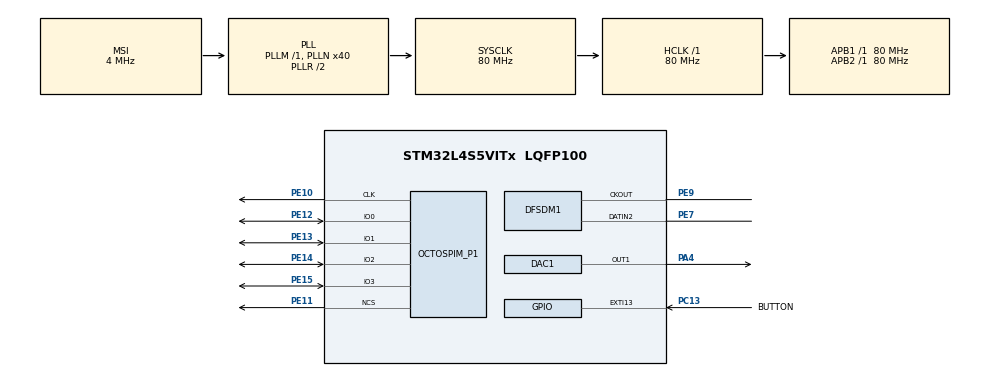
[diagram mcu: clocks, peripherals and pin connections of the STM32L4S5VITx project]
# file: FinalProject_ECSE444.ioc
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DAC1.DAC_Trigger-DAC_OUT1=DAC_TRIGGER_T2_TRGO
DFSDM1.Divider=25
DFSDM1.DmaMode_reg_FIL0=ENABLE
DFSDM1.FastMode_reg_FIL0=ENABLE
DFSDM1.Filter_regChannel_FIL0=DFSDM_CHANNEL_2
DFSDM1.Fosr_FIL0=80
Dma.DAC1_CH1.1.Direction=DMA_MEMORY_TO_PERIPH
Dma.DAC1_CH1.1.EventEnable=DISABLE
Dma.DAC1_CH1.1.Instance=DMA1_Channel2
Dma.DAC1_CH1.1.MemDataAlignment=DMA_MDATAALIGN_BYTE
Dma.DAC1_CH1.1.MemInc=DMA_MINC_ENABLE
Dma.DAC1_CH1.1.Mode=DMA_NORMAL
Dma.DAC1_CH1.1.PeriphDataAlignment=DMA_PDATAALIGN_BYTE
Dma.DAC1_CH1.1.PeriphInc=DMA_PINC_DISABLE
Dma.DAC1_CH1.1.Polarity=HAL_DMAMUX_REQUEST_GEN_RISING
Dma.DAC1_CH1.1.Priority=DMA_PRIORITY_LOW
Dma.DAC1_CH1.1.RequestNumber=1
Dma.DAC1_CH1.1.SignalID=NONE
Dma.DAC1_CH1.1.SyncEnable=DISABLE
Dma.DAC1_CH1.1.SyncPolarity=HAL_DMAMUX_SYNC_NO_EVENT
Dma.DAC1_CH1.1.SyncRequestNumber=1
Dma.DAC1_CH1.1.SyncSignalID=NONE
Dma.DFSDM1_FLT0.0.Direction=DMA_PERIPH_TO_MEMORY
Dma.DFSDM1_FLT0.0.EventEnable=DISABLE
Dma.DFSDM1_FLT0.0.Instance=DMA1_Channel1
Dma.DFSDM1_FLT0.0.MemDataAlignment=DMA_MDATAALIGN_WORD
Dma.DFSDM1_FLT0.0.MemInc=DMA_MINC_ENABLE
Dma.DFSDM1_FLT0.0.Mode=DMA_CIRCULAR
Dma.DFSDM1_FLT0.0.PeriphDataAlignment=DMA_PDATAALIGN_WORD
Dma.DFSDM1_FLT0.0.PeriphInc=DMA_PINC_DISABLE
Dma.DFSDM1_FLT0.0.Polarity=HAL_DMAMUX_REQUEST_GEN_RISING
Dma.DFSDM1_FLT0.0.Priority=DMA_PRIORITY_LOW
Dma.DFSDM1_FLT0.0.RequestNumber=1
Dma.DFSDM1_FLT0.0.SignalID=NONE
Dma.DFSDM1_FLT0.0.SyncEnable=DISABLE
Dma.DFSDM1_FLT0.0.SyncPolarity=HAL_DMAMUX_SYNC_NO_EVENT
Dma.DFSDM1_FLT0.0.SyncRequestNumber=1
Dma.DFSDM1_FLT0.0.SyncSignalID=NONE
Dma.Request0=DFSDM1_FLT0
Dma.Request1=DAC1_CH1
Mcu.Family=STM32L4
Mcu.Name=STM32L4S5VITx
Mcu.Package=LQFP100
NVIC.DFSDM1_FLT0_IRQn=true\:0\:0\:false\:false\:true\:true\:true\:true
NVIC.DMA1_Channel1_IRQn=true\:0\:0\:false\:false\:true\:false\:true\:true
NVIC.DMA1_Channel2_IRQn=true\:0\:0\:false\:false\:true\:false\:true\:true
NVIC.EXTI15_10_IRQn=true\:0\:0\:false\:false\:true\:true\:true\:true
NVIC.PriorityGroup=NVIC_PRIORITYGROUP_4
NVIC.TIM2_IRQn=true\:0\:0\:false\:false\:true\:true\:true\:true
OCTOSPI1.MemoryType=HAL_OSPI_MEMTYPE_MACRONIX
PA13\ (JTMS/SWDIO).Signal=SYS_JTMS-SWDIO
PA4.Signal=COMP_DAC11_group
PB3\ (JTDO/TRACESWO).Signal=SYS_JTDO-SWO
PC13.GPIO_Label=BUTTON
PC13.Signal=GPXTI13
PE10.Mode=O1_P1_CLK
PE10.Signal=OCTOSPIM_P1_CLK
PE11.Mode=OCTOSPI1_Port1_NCS
PE11.Signal=OCTOSPIM_P1_NCS
PE12.Mode=OCTOSPI1_IOL_Port1L
PE12.Signal=OCTOSPIM_P1_IO0
PE13.Mode=OCTOSPI1_IOL_Port1L
PE13.Signal=OCTOSPIM_P1_IO1
PE14.Mode=OCTOSPI1_IOL_Port1L
PE14.Signal=OCTOSPIM_P1_IO2
PE15.Mode=OCTOSPI1_IOL_Port1L
PE15.Signal=OCTOSPIM_P1_IO3
PE7.Signal=S_DATAIN2DFSDM1
PE9.Signal=S_CKOUTDFSDM1
ProjectManager.HeapSize=0x200
ProjectManager.StackSize=0x400
ProjectManager.TargetToolchain=STM32CubeIDE
RCC.ADCFreq_Value=48000000
RCC.AHBFreq_Value=80000000
RCC.APB1Freq_Value=80000000
RCC.APB1TimFreq_Value=80000000
RCC.APB2Freq_Value=80000000
RCC.APB2TimFreq_Value=80000000
RCC.CortexFreq_Value=80000000
RCC.HCLKFreq_Value=80000000
RCC.HSE_VALUE=8000000
RCC.HSI48_VALUE=48000000
RCC.HSI_VALUE=16000000
RCC.LSE_VALUE=32768
RCC.MSI_VALUE=4000000
RCC.PLLN=40
RCC.PLLSAI1N=24
RCC.SYSCLKFreq_VALUE=80000000
RCC.SYSCLKSource=RCC_SYSCLKSOURCE_PLLCLK
RCC.USBFreq_Value=48000000
RCC.VCOOutputFreq_Value=160000000
SH.COMP_DAC11_group.0=DAC1_OUT1,DAC_OUT1
SH.S_CKOUTDFSDM1.0=DFSDM1_CKOUT,PDM_SPI_input_from_ch2_and_internal_clock
SH.S_DATAIN2DFSDM1.0=DFSDM1_DATIN2,PDM_SPI_input_from_ch2_and_internal_clock
TIM2.Period=2000
TIM2.TIM_MasterOutputTrigger=TIM_TRGO_UPDATE
VP_OCTOSPI1_VS_quad.Mode=quad_mode
VP_TIM2_VS_ClockSourceINT.Mode=Internal
board=B-L4S5I-IOT01A

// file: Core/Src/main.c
/* USER CODE BEGIN Header */
/**
  ******************************************************************************
  * @file           : main.c
  * @brief          : Main program body
  ******************************************************************************
  * @attention
  *
  * Copyright (c) 2022 STMicroelectronics.
  * All rights reserved.
  *
  * This software is licensed under terms that can be found in the LICENSE file
  * in the root directory of this software component.
  * If no LICENSE file comes with this software, it is provided AS-IS.
  *
  ******************************************************************************
  */
/* USER CODE END Header */
#include "main.h"

/* USER CODE BEGIN Includes */
#include "stm32l4s5i_iot01_qspi.h"
#include "arm_math.h"
#include <stdlib.h>
#include <string.h>
#include <stdio.h>
/* USER CODE END Includes */

DAC_HandleTypeDef hdac1;
DMA_HandleTypeDef hdma_dac1_ch1;

DFSDM_Filter_HandleTypeDef hdfsdm1_filter0;
DFSDM_Channel_HandleTypeDef hdfsdm1_channel2;
DMA_HandleTypeDef hdma_dfsdm1_flt0;

OSPI_HandleTypeDef hospi1;

TIM_HandleTypeDef htim2;

void SystemClock_Config(void);
static void MX_GPIO_Init(void);
static void MX_DMA_Init(void);
static void MX_DFSDM1_Init(void);
static void MX_TIM2_Init(void);
static void MX_OCTOSPI1_Init(void);
static void MX_DAC1_Init(void);

/* USER CODE BEGIN 0 */
int32_t recording [60000];
int ct = 0;
uint8_t outputAudio[60000];
uint8_t firsthalf[30000];
uint8_t secondhalf[30000];
//uint8_t dacArray[125000];
uint32_t counter = 0;
int halfCompleted = 0;
int completed = 0;
/* USER CODE END 0 */

int main(void)
{

  /* MCU Configuration--------------------------------------------------------*/

  /* Reset of all peripherals, Initializes the Flash interface and the Systick. */
  HAL_Init();

  /* Configure the system clock */
  SystemClock_Config();

  /* Initialize all configured peripherals */
  MX_GPIO_Init();
  MX_DMA_Init();
  MX_DFSDM1_Init();
  MX_TIM2_Init();
  MX_OCTOSPI1_Init();
  MX_DAC1_Init();
  /* USER CODE BEGIN 2 */
  HAL_TIM_Base_Start_IT(&htim2);
  BSP_QSPI_Init();
  //erase memory from flash, enough to fit 2 sets
//  for(int i =0; i < 10; i++){
//  	  if (BSP_QSPI_Erase_Block(((uint32_t) i*65536)) != QSPI_OK)
//  	   		Error_Handler();
//  }
  //we meed 10 of these
  if (BSP_QSPI_Erase_Block(((uint32_t) 0)) != QSPI_OK)
   	   		Error_Handler();
  if (BSP_QSPI_Erase_Block(((uint32_t) 65536)) != QSPI_OK)
   	   		Error_Handler();
  if (BSP_QSPI_Erase_Block(((uint32_t) 131072)) != QSPI_OK)
   	   		Error_Handler();
  if (BSP_QSPI_Erase_Block(((uint32_t) 196608)) != QSPI_OK)
   	   		Error_Handler();

  /* USER CODE END 2 */

  /* Infinite loop */
  while (1)
  {

    /* USER CODE BEGIN 3 */
	  if(halfCompleted == 1){
			int32_t temp;
			memset(firsthalf, 0, 30000);
			for(int i = 0; i < 30000; i++ ){
					temp = ((int32_t) recording[i] >> 8) + pow(2,23);
					firsthalf[i] = (uint8_t) (temp >> 15);
			}
			if(BSP_QSPI_Write((uint8_t *)firsthalf, counter, 30000) != QSPI_OK){
							  Error_Handler();
			}
			counter = counter + 30000;
		    halfCompleted = 0;
	  }
	  if(completed == 1){
		    int32_t temp1;
			memset(secondhalf, 0, 30000);
			for(int i = 30000; i < 60000; i++ ){
				temp1 = ((int32_t) recording[i] >> 8) + pow(2,23);
				secondhalf[i-30000] = (uint8_t) (temp1 >> 15);

			}
			if(BSP_QSPI_Write((uint8_t *)secondhalf, counter, 30000) != QSPI_OK){
						  Error_Handler();
			}
			counter = counter + 30000;
			completed = 0;
			if(counter == 240000){
					HAL_DFSDM_FilterRegularStop_DMA(&hdfsdm1_filter0);
					startDac();
			}
	  }
  }
  /* USER CODE END 3 */
}

void SystemClock_Config(void)
{
  RCC_OscInitTypeDef RCC_OscInitStruct = {0};
  RCC_ClkInitTypeDef RCC_ClkInitStruct = {0};

  /** Configure the main internal regulator output voltage
  */
  if (HAL_PWREx_ControlVoltageScaling(PWR_REGULATOR_VOLTAGE_SCALE1) != HAL_OK)
  {
    Error_Handler();
  }

  /** Initializes the RCC Oscillators according to the specified parameters
  * in the RCC_OscInitTypeDef structure.
  */
  RCC_OscInitStruct.OscillatorType = RCC_OSCILLATORTYPE_MSI;
  RCC_OscInitStruct.MSIState = RCC_MSI_ON;
  RCC_OscInitStruct.MSICalibrationValue = 0;
  RCC_OscInitStruct.MSIClockRange = RCC_MSIRANGE_6;
  RCC_OscInitStruct.PLL.PLLState = RCC_PLL_ON;
  RCC_OscInitStruct.PLL.PLLSource = RCC_PLLSOURCE_MSI;
  RCC_OscInitStruct.PLL.PLLM = 1;
  RCC_OscInitStruct.PLL.PLLN = 40;
  RCC_OscInitStruct.PLL.PLLP = RCC_PLLP_DIV2;
  RCC_OscInitStruct.PLL.PLLQ = RCC_PLLQ_DIV2;
  RCC_OscInitStruct.PLL.PLLR = RCC_PLLR_DIV2;
  if (HAL_RCC_OscConfig(&RCC_OscInitStruct) != HAL_OK)
  {
    Error_Handler();
  }

  /** Initializes the CPU, AHB and APB buses clocks
  */
  RCC_ClkInitStruct.ClockType = RCC_CLOCKTYPE_HCLK|RCC_CLOCKTYPE_SYSCLK
                              |RCC_CLOCKTYPE_PCLK1|RCC_CLOCKTYPE_PCLK2;
  RCC_ClkInitStruct.SYSCLKSource = RCC_SYSCLKSOURCE_PLLCLK;
  RCC_ClkInitStruct.AHBCLKDivider = RCC_SYSCLK_DIV1;
  RCC_ClkInitStruct.APB1CLKDivider = RCC_HCLK_DIV1;
  RCC_ClkInitStruct.APB2CLKDivider = RCC_HCLK_DIV1;

  if (HAL_RCC_ClockConfig(&RCC_ClkInitStruct, FLASH_LATENCY_3) != HAL_OK)
  {
    Error_Handler();
  }
}

static void MX_DAC1_Init(void)
{

  DAC_ChannelConfTypeDef sConfig = {0};

  /** DAC Initialization
  */
  hdac1.Instance = DAC1;
  if (HAL_DAC_Init(&hdac1) != HAL_OK)
  {
    Error_Handler();
  }

  /** DAC channel OUT1 config
  */
  sConfig.DAC_SampleAndHold = DAC_SAMPLEANDHOLD_DISABLE;
  sConfig.DAC_Trigger = DAC_TRIGGER_T2_TRGO;
  sConfig.DAC_HighFrequency = DAC_HIGH_FREQUENCY_INTERFACE_MODE_ABOVE_80MHZ;
  sConfig.DAC_OutputBuffer = DAC_OUTPUTBUFFER_ENABLE;
  sConfig.DAC_ConnectOnChipPeripheral = DAC_CHIPCONNECT_DISABLE;
  sConfig.DAC_UserTrimming = DAC_TRIMMING_FACTORY;
  if (HAL_DAC_ConfigChannel(&hdac1, &sConfig, DAC_CHANNEL_1) != HAL_OK)
  {
    Error_Handler();
  }

}

static void MX_DFSDM1_Init(void)
{

  hdfsdm1_filter0.Instance = DFSDM1_Filter0;
  hdfsdm1_filter0.Init.RegularParam.Trigger = DFSDM_FILTER_SW_TRIGGER;
  hdfsdm1_filter0.Init.RegularParam.FastMode = ENABLE;
  hdfsdm1_filter0.Init.RegularParam.DmaMode = ENABLE;
  hdfsdm1_filter0.Init.FilterParam.SincOrder = DFSDM_FILTER_FASTSINC_ORDER;
  hdfsdm1_filter0.Init.FilterParam.Oversampling = 80;
  hdfsdm1_filter0.Init.FilterParam.IntOversampling = 1;
  if (HAL_DFSDM_FilterInit(&hdfsdm1_filter0) != HAL_OK)
  {
    Error_Handler();
  }
  hdfsdm1_channel2.Instance = DFSDM1_Channel2;
  hdfsdm1_channel2.Init.OutputClock.Activation = ENABLE;
  hdfsdm1_channel2.Init.OutputClock.Selection = DFSDM_CHANNEL_OUTPUT_CLOCK_SYSTEM;
  hdfsdm1_channel2.Init.OutputClock.Divider = 25;
  hdfsdm1_channel2.Init.Input.Multiplexer = DFSDM_CHANNEL_EXTERNAL_INPUTS;
  hdfsdm1_channel2.Init.Input.DataPacking = DFSDM_CHANNEL_STANDARD_MODE;
  hdfsdm1_channel2.Init.Input.Pins = DFSDM_CHANNEL_SAME_CHANNEL_PINS;
  hdfsdm1_channel2.Init.SerialInterface.Type = DFSDM_CHANNEL_SPI_RISING;
  hdfsdm1_channel2.Init.SerialInterface.SpiClock = DFSDM_CHANNEL_SPI_CLOCK_INTERNAL;
  hdfsdm1_channel2.Init.Awd.FilterOrder = DFSDM_CHANNEL_FASTSINC_ORDER;
  hdfsdm1_channel2.Init.Awd.Oversampling = 1;
  hdfsdm1_channel2.Init.Offset = 0;
  hdfsdm1_channel2.Init.RightBitShift = 0x00;
  if (HAL_DFSDM_ChannelInit(&hdfsdm1_channel2) != HAL_OK)
  {
    Error_Handler();
  }
  if (HAL_DFSDM_FilterConfigRegChannel(&hdfsdm1_filter0, DFSDM_CHANNEL_2, DFSDM_CONTINUOUS_CONV_ON) != HAL_OK)
  {
    Error_Handler();
  }

}

static void MX_OCTOSPI1_Init(void)
{

  OSPIM_CfgTypeDef OSPIM_Cfg_Struct = {0};

  /* OCTOSPI1 parameter configuration*/
  hospi1.Instance = OCTOSPI1;
  hospi1.Init.FifoThreshold = 1;
  hospi1.Init.DualQuad = HAL_OSPI_DUALQUAD_DISABLE;
  hospi1.Init.MemoryType = HAL_OSPI_MEMTYPE_MACRONIX;
  hospi1.Init.DeviceSize = 32;
  hospi1.Init.ChipSelectHighTime = 1;
  hospi1.Init.FreeRunningClock = HAL_OSPI_FREERUNCLK_DISABLE;
  hospi1.Init.ClockMode = HAL_OSPI_CLOCK_MODE_0;
  hospi1.Init.ClockPrescaler = 1;
  hospi1.Init.SampleShifting = HAL_OSPI_SAMPLE_SHIFTING_NONE;
  hospi1.Init.DelayHoldQuarterCycle = HAL_OSPI_DHQC_DISABLE;
  hospi1.Init.ChipSelectBoundary = 0;
  hospi1.Init.DelayBlockBypass = HAL_OSPI_DELAY_BLOCK_BYPASSED;
  if (HAL_OSPI_Init(&hospi1) != HAL_OK)
  {
    Error_Handler();
  }
  OSPIM_Cfg_Struct.ClkPort = 1;
  OSPIM_Cfg_Struct.NCSPort = 1;
  OSPIM_Cfg_Struct.IOLowPort = HAL_OSPIM_IOPORT_1_LOW;
  if (HAL_OSPIM_Config(&hospi1, &OSPIM_Cfg_Struct, HAL_OSPI_TIMEOUT_DEFAULT_VALUE) != HAL_OK)
  {
    Error_Handler();
  }

}

static void MX_TIM2_Init(void)
{

  TIM_ClockConfigTypeDef sClockSourceConfig = {0};
  TIM_MasterConfigTypeDef sMasterConfig = {0};

  htim2.Instance = TIM2;
  htim2.Init.Prescaler = 0;
  htim2.Init.CounterMode = TIM_COUNTERMODE_UP;
  htim2.Init.Period = 2000;
  htim2.Init.ClockDivision = TIM_CLOCKDIVISION_DIV1;
  htim2.Init.AutoReloadPreload = TIM_AUTORELOAD_PRELOAD_DISABLE;
  if (HAL_TIM_Base_Init(&htim2) != HAL_OK)
  {
    Error_Handler();
  }
  sClockSourceConfig.ClockSource = TIM_CLOCKSOURCE_INTERNAL;
  if (HAL_TIM_ConfigClockSource(&htim2, &sClockSourceConfig) != HAL_OK)
  {
    Error_Handler();
  }
  sMasterConfig.MasterOutputTrigger = TIM_TRGO_UPDATE;
  sMasterConfig.MasterSlaveMode = TIM_MASTERSLAVEMODE_DISABLE;
  if (HAL_TIMEx_MasterConfigSynchronization(&htim2, &sMasterConfig) != HAL_OK)
  {
    Error_Handler();
  }

}

static void MX_DMA_Init(void)
{

  /* DMA controller clock enable */
  __HAL_RCC_DMAMUX1_CLK_ENABLE();
  __HAL_RCC_DMA1_CLK_ENABLE();

  /* DMA interrupt init */
  /* DMA1_Channel1_IRQn interrupt configuration */
  HAL_NVIC_SetPriority(DMA1_Channel1_IRQn, 0, 0);
  HAL_NVIC_EnableIRQ(DMA1_Channel1_IRQn);
  /* DMA1_Channel2_IRQn interrupt configuration */
  HAL_NVIC_SetPriority(DMA1_Channel2_IRQn, 0, 0);
  HAL_NVIC_EnableIRQ(DMA1_Channel2_IRQn);

}

static void MX_GPIO_Init(void)
{
  GPIO_InitTypeDef GPIO_InitStruct = {0};

  /* GPIO Ports Clock Enable */
  __HAL_RCC_GPIOC_CLK_ENABLE();
  __HAL_RCC_GPIOA_CLK_ENABLE();
  __HAL_RCC_GPIOE_CLK_ENABLE();
  __HAL_RCC_GPIOB_CLK_ENABLE();

  /*Configure GPIO pin : BUTTON_Pin */
  GPIO_InitStruct.Pin = BUTTON_Pin;
  GPIO_InitStruct.Mode = GPIO_MODE_IT_RISING;
  GPIO_InitStruct.Pull = GPIO_NOPULL;
  HAL_GPIO_Init(BUTTON_GPIO_Port, &GPIO_InitStruct);

  /* EXTI interrupt init*/
  HAL_NVIC_SetPriority(EXTI15_10_IRQn, 0, 0);
  HAL_NVIC_EnableIRQ(EXTI15_10_IRQn);

}

/* USER CODE BEGIN 4 */
void HAL_GPIO_EXTI_Callback(uint16_t GPIO_Pin){
		HAL_DFSDM_FilterRegularStop_DMA(&hdfsdm1_filter0);
		HAL_DFSDM_FilterRegularStart_DMA(&hdfsdm1_filter0, recording, 60000);
}

void HAL_DFSDM_FilterRegConvHalfCpltCallback(DFSDM_Filter_HandleTypeDef *hdfsdm_filter){
	halfCompleted = 1;
}
void HAL_DFSDM_FilterRegConvCpltCallback(DFSDM_Filter_HandleTypeDef * hdfsdm_filter	){
	completed = 1;
}

void HAL_DAC_ConvCpltCallbackCh1(DAC_HandleTypeDef *hdac){
	ct = ct + 1;
	memset(outputAudio, 0, 60000);
	if(ct == 1){
		if(BSP_QSPI_Read((uint8_t *)outputAudio, 60000, 60000) != QSPI_OK){
									Error_Handler();
					}
		HAL_DAC_Start_DMA(&hdac1, DAC_CHANNEL_1, (uint32_t*) outputAudio, 60000, DAC_ALIGN_8B_R);
	}
	if(ct == 2){
		if(BSP_QSPI_Read((uint8_t *)outputAudio,120000, 60000) != QSPI_OK){
									Error_Handler();
					}
		HAL_DAC_Start_DMA(&hdac1, DAC_CHANNEL_1, (uint32_t*) outputAudio, 60000, DAC_ALIGN_8B_R);
	}
	if(ct == 3){
		if(BSP_QSPI_Read((uint8_t *)outputAudio, 180000, 60000) != QSPI_OK){
									Error_Handler();
					}
		HAL_DAC_Start_DMA(&hdac1, DAC_CHANNEL_1, (uint32_t*) outputAudio, 60000, DAC_ALIGN_8B_R);
	}
}

void startDac(){
//	for(int i = 0; i < 4; i++){
	memset(outputAudio, 0, 60000);
	if(BSP_QSPI_Read((uint8_t *)outputAudio, 0, 60000) != QSPI_OK){
							Error_Handler();
			}
	HAL_DAC_Start_DMA(&hdac1, DAC_CHANNEL_1, (uint32_t*) outputAudio, 60000, DAC_ALIGN_8B_R);

}
/* USER CODE END 4 */

void Error_Handler(void)
{
  __disable_irq();
  while (1)
  {
  }
}
